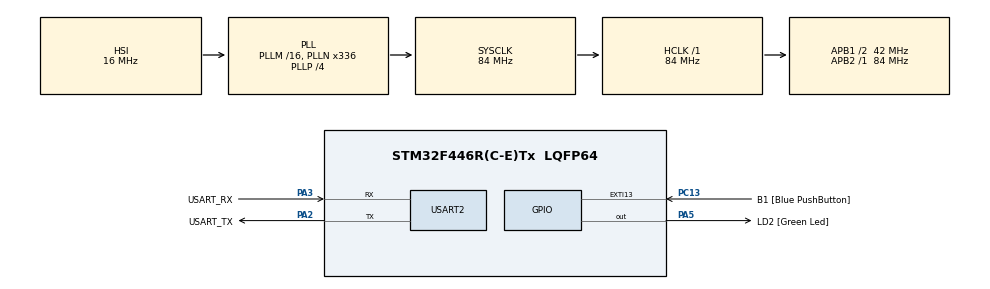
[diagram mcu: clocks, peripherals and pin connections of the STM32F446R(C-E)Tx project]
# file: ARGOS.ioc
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Mcu.Family=STM32F4
Mcu.Name=STM32F446R(C-E)Tx
Mcu.Package=LQFP64
NVIC.PriorityGroup=NVIC_PRIORITYGROUP_0
PA13.GPIO_Label=TMS
PA13.Mode=Serial_Wire
PA13.Signal=SYS_JTMS-SWDIO
PA14.GPIO_Label=TCK
PA14.Mode=Serial_Wire
PA14.Signal=SYS_JTCK-SWCLK
PA2.GPIO_Label=USART_TX
PA2.Mode=Asynchronous
PA2.Signal=USART2_TX
PA3.GPIO_Label=USART_RX
PA3.Mode=Asynchronous
PA3.Signal=USART2_RX
PA5.GPIO_Label=LD2 [Green Led]
PA5.Signal=GPIO_Output
PB3.GPIO_Label=SWO
PB3.Signal=SYS_JTDO-SWO
PC13.GPIO_Label=B1 [Blue PushButton]
PC13.GPIO_ModeDefaultEXTI=GPIO_MODE_IT_FALLING
PC13.Signal=GPXTI13
PC14-OSC32_IN.Mode=LSE-External-Oscillator
PC14-OSC32_IN.Signal=RCC_OSC32_IN
PC15-OSC32_OUT.Mode=LSE-External-Oscillator
PC15-OSC32_OUT.Signal=RCC_OSC32_OUT
PH0-OSC_IN.Mode=HSE-External-Oscillator
PH0-OSC_IN.Signal=RCC_OSC_IN
PH1-OSC_OUT.Mode=HSE-External-Oscillator
PH1-OSC_OUT.Signal=RCC_OSC_OUT
ProjectManager.HeapSize=0x200
ProjectManager.StackSize=0x400
ProjectManager.TargetToolchain=STM32CubeIDE
RCC.48MHZClocksFreq_Value=84000000
RCC.AHBFreq_Value=84000000
RCC.APB1CLKDivider=RCC_HCLK_DIV2
RCC.APB1Freq_Value=42000000
RCC.APB1TimFreq_Value=84000000
RCC.APB2Freq_Value=84000000
RCC.APB2TimFreq_Value=84000000
RCC.CortexFreq_Value=84000000
RCC.FLatency-AdvancedSettings=FLASH_LATENCY_2
RCC.HCLKFreq_Value=84000000
RCC.HSE_VALUE=8000000
RCC.HSI_VALUE=16000000
RCC.PLLN=336
RCC.PLLP=RCC_PLLP_DIV4
RCC.SYSCLKFreq_VALUE=84000000
RCC.SYSCLKSource=RCC_SYSCLKSOURCE_PLLCLK
RCC.USBFreq_Value=168000000
RCC.VCOOutputFreq_Value=336000000
USART2.VirtualMode=VM_ASYNC
board=NUCLEO-F446RE

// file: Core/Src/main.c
/* USER CODE BEGIN Header */
/**
  ******************************************************************************
  * @file           : main.c
  * @brief          : Main program body
  ******************************************************************************
  * @attention
  *
  * Copyright (c) 2026 STMicroelectronics.
  * All rights reserved.
  *
  * This software is licensed under terms that can be found in the LICENSE file
  * in the root directory of this software component.
  * If no LICENSE file comes with this software, it is provided AS-IS.
  *
  ******************************************************************************
  */
/* USER CODE END Header */
#include "main.h"
/* USER CODE BEGIN Includes */
#include "argos_platform.h"
/* USER CODE END Includes */

UART_HandleTypeDef huart2;

void SystemClock_Config(void);
static void MX_GPIO_Init(void);
static void MX_USART2_UART_Init(void);

/* USER CODE BEGIN 0 */
/* ARGOS application modules live in Core/Src/argos_platform.c. */
extern uint32_t g_pfnVectors;
/* USER CODE END 0 */

int main(void)
{

  /* USER CODE BEGIN 1 */

  /* Support both the legacy 0x08000000 image and the OTA application image
     linked at 0x08008000. The vector symbol follows the active linker image. */
  SCB->VTOR = (uint32_t)&g_pfnVectors;
  __DSB();
  __ISB();

  /* USER CODE END 1 */

  /* MCU Configuration--------------------------------------------------------*/

  /* Reset of all peripherals, Initializes the Flash interface and the Systick. */
  HAL_Init();

  /* Configure the system clock */
  SystemClock_Config();

  /* Initialize all configured peripherals */
  MX_GPIO_Init();
  MX_USART2_UART_Init();
  /* USER CODE BEGIN 2 */
  Argos_Platform_Init();
  /* USER CODE END 2 */

  /* Infinite loop */
  /* USER CODE BEGIN WHILE */
  while (1)
  {
    Argos_Platform_Task();
    /* USER CODE END WHILE */

  }
}

void SystemClock_Config(void)
{
  RCC_OscInitTypeDef RCC_OscInitStruct = {0};
  RCC_ClkInitTypeDef RCC_ClkInitStruct = {0};

  /** Configure the main internal regulator output voltage
  */
  __HAL_RCC_PWR_CLK_ENABLE();
  __HAL_PWR_VOLTAGESCALING_CONFIG(PWR_REGULATOR_VOLTAGE_SCALE3);

  /** Initializes the RCC Oscillators according to the specified parameters
  * in the RCC_OscInitTypeDef structure.
  */
  RCC_OscInitStruct.OscillatorType = RCC_OSCILLATORTYPE_HSI;
  RCC_OscInitStruct.HSIState = RCC_HSI_ON;
  RCC_OscInitStruct.HSICalibrationValue = RCC_HSICALIBRATION_DEFAULT;
  RCC_OscInitStruct.PLL.PLLState = RCC_PLL_ON;
  RCC_OscInitStruct.PLL.PLLSource = RCC_PLLSOURCE_HSI;
  RCC_OscInitStruct.PLL.PLLM = 16;
  RCC_OscInitStruct.PLL.PLLN = 336;
  RCC_OscInitStruct.PLL.PLLP = RCC_PLLP_DIV4;
  RCC_OscInitStruct.PLL.PLLQ = 2;
  RCC_OscInitStruct.PLL.PLLR = 2;
  if (HAL_RCC_OscConfig(&RCC_OscInitStruct) != HAL_OK)
  {
    Error_Handler();
  }

  /** Initializes the CPU, AHB and APB buses clocks
  */
  RCC_ClkInitStruct.ClockType = RCC_CLOCKTYPE_HCLK|RCC_CLOCKTYPE_SYSCLK
                              |RCC_CLOCKTYPE_PCLK1|RCC_CLOCKTYPE_PCLK2;
  RCC_ClkInitStruct.SYSCLKSource = RCC_SYSCLKSOURCE_PLLCLK;
  RCC_ClkInitStruct.AHBCLKDivider = RCC_SYSCLK_DIV1;
  RCC_ClkInitStruct.APB1CLKDivider = RCC_HCLK_DIV2;
  RCC_ClkInitStruct.APB2CLKDivider = RCC_HCLK_DIV1;

  if (HAL_RCC_ClockConfig(&RCC_ClkInitStruct, FLASH_LATENCY_2) != HAL_OK)
  {
    Error_Handler();
  }
}

static void MX_USART2_UART_Init(void)
{

  huart2.Instance = USART2;
  huart2.Init.BaudRate = 115200;
  huart2.Init.WordLength = UART_WORDLENGTH_8B;
  huart2.Init.StopBits = UART_STOPBITS_1;
  huart2.Init.Parity = UART_PARITY_NONE;
  huart2.Init.Mode = UART_MODE_TX_RX;
  huart2.Init.HwFlowCtl = UART_HWCONTROL_NONE;
  huart2.Init.OverSampling = UART_OVERSAMPLING_16;
  if (HAL_UART_Init(&huart2) != HAL_OK)
  {
    Error_Handler();
  }

}

static void MX_GPIO_Init(void)
{
  GPIO_InitTypeDef GPIO_InitStruct = {0};

  /* GPIO Ports Clock Enable */
  __HAL_RCC_GPIOC_CLK_ENABLE();
  __HAL_RCC_GPIOH_CLK_ENABLE();
  __HAL_RCC_GPIOA_CLK_ENABLE();
  __HAL_RCC_GPIOB_CLK_ENABLE();

  /*Configure GPIO pin Output Level */
  HAL_GPIO_WritePin(LD2_GPIO_Port, LD2_Pin, GPIO_PIN_RESET);

  /*Configure GPIO pin : B1_Pin */
  GPIO_InitStruct.Pin = B1_Pin;
  GPIO_InitStruct.Mode = GPIO_MODE_IT_FALLING;
  GPIO_InitStruct.Pull = GPIO_NOPULL;
  HAL_GPIO_Init(B1_GPIO_Port, &GPIO_InitStruct);

  /*Configure GPIO pin : LD2_Pin */
  GPIO_InitStruct.Pin = LD2_Pin;
  GPIO_InitStruct.Mode = GPIO_MODE_OUTPUT_PP;
  GPIO_InitStruct.Pull = GPIO_NOPULL;
  GPIO_InitStruct.Speed = GPIO_SPEED_FREQ_LOW;
  HAL_GPIO_Init(LD2_GPIO_Port, &GPIO_InitStruct);

  /* USER CODE BEGIN MX_GPIO_Init_2 */
  /* Keep sensors shut down and motor inputs low before changing pin modes. */
  HAL_GPIO_WritePin(GPIOA, TOF_LEFT_XSHUT_Pin | TOF_RIGHT_XSHUT_Pin, GPIO_PIN_RESET);
  HAL_GPIO_WritePin(LEFT_MOTOR_Port, LEFT_MOTOR_RPWM_Pin | LEFT_MOTOR_LPWM_Pin, GPIO_PIN_RESET);
  HAL_GPIO_WritePin(RIGHT_MOTOR_Port, RIGHT_MOTOR_RPWM_Pin | RIGHT_MOTOR_LPWM_Pin, GPIO_PIN_RESET);

  GPIO_InitStruct.Pin = MPU_INT_Pin;
  GPIO_InitStruct.Mode = GPIO_MODE_INPUT;
  GPIO_InitStruct.Pull = GPIO_PULLDOWN;
  HAL_GPIO_Init(MPU_INT_GPIO_Port, &GPIO_InitStruct);

  GPIO_InitStruct.Pin = TOF_LEFT_XSHUT_Pin | TOF_RIGHT_XSHUT_Pin;
  GPIO_InitStruct.Mode = GPIO_MODE_OUTPUT_PP;
  GPIO_InitStruct.Pull = GPIO_NOPULL;
  GPIO_InitStruct.Speed = GPIO_SPEED_FREQ_LOW;
  HAL_GPIO_Init(GPIOA, &GPIO_InitStruct);

  GPIO_InitStruct.Pin = TOF_LEFT_INT_Pin;
  GPIO_InitStruct.Mode = GPIO_MODE_INPUT;
  GPIO_InitStruct.Pull = GPIO_NOPULL;
  HAL_GPIO_Init(TOF_LEFT_INT_Port, &GPIO_InitStruct);

  GPIO_InitStruct.Pin = TOF_RIGHT_INT_Pin;
  GPIO_InitStruct.Mode = GPIO_MODE_INPUT;
  GPIO_InitStruct.Pull = GPIO_NOPULL;
  HAL_GPIO_Init(TOF_RIGHT_INT_Port, &GPIO_InitStruct);

  GPIO_InitStruct.Pin = LEFT_MOTOR_RPWM_Pin | LEFT_MOTOR_LPWM_Pin;
  GPIO_InitStruct.Mode = GPIO_MODE_OUTPUT_PP;
  GPIO_InitStruct.Pull = GPIO_NOPULL;
  GPIO_InitStruct.Speed = GPIO_SPEED_FREQ_LOW;
  HAL_GPIO_Init(LEFT_MOTOR_Port, &GPIO_InitStruct);

  GPIO_InitStruct.Pin = RIGHT_MOTOR_RPWM_Pin | RIGHT_MOTOR_LPWM_Pin;
  GPIO_InitStruct.Mode = GPIO_MODE_OUTPUT_PP;
  GPIO_InitStruct.Pull = GPIO_NOPULL;
  GPIO_InitStruct.Speed = GPIO_SPEED_FREQ_LOW;
  HAL_GPIO_Init(RIGHT_MOTOR_Port, &GPIO_InitStruct);

  GPIO_InitStruct.Pin = LEFT_ENC_A_Pin | LEFT_ENC_B_Pin | RIGHT_ENC_A_Pin | RIGHT_ENC_B_Pin;
  GPIO_InitStruct.Mode = GPIO_MODE_IT_RISING_FALLING;
  GPIO_InitStruct.Pull = GPIO_PULLUP;
  HAL_GPIO_Init(GPIOC, &GPIO_InitStruct);

  HAL_NVIC_SetPriority(EXTI2_IRQn, 1, 0);
  HAL_NVIC_EnableIRQ(EXTI2_IRQn);
  HAL_NVIC_SetPriority(EXTI3_IRQn, 1, 0);
  HAL_NVIC_EnableIRQ(EXTI3_IRQn);
  HAL_NVIC_SetPriority(EXTI4_IRQn, 1, 0);
  HAL_NVIC_EnableIRQ(EXTI4_IRQn);
  HAL_NVIC_SetPriority(EXTI9_5_IRQn, 1, 0);
  HAL_NVIC_EnableIRQ(EXTI9_5_IRQn);

  /* USER CODE END MX_GPIO_Init_2 */
}

void Error_Handler(void)
{
  __disable_irq();
  while (1)
  {
  }
}
